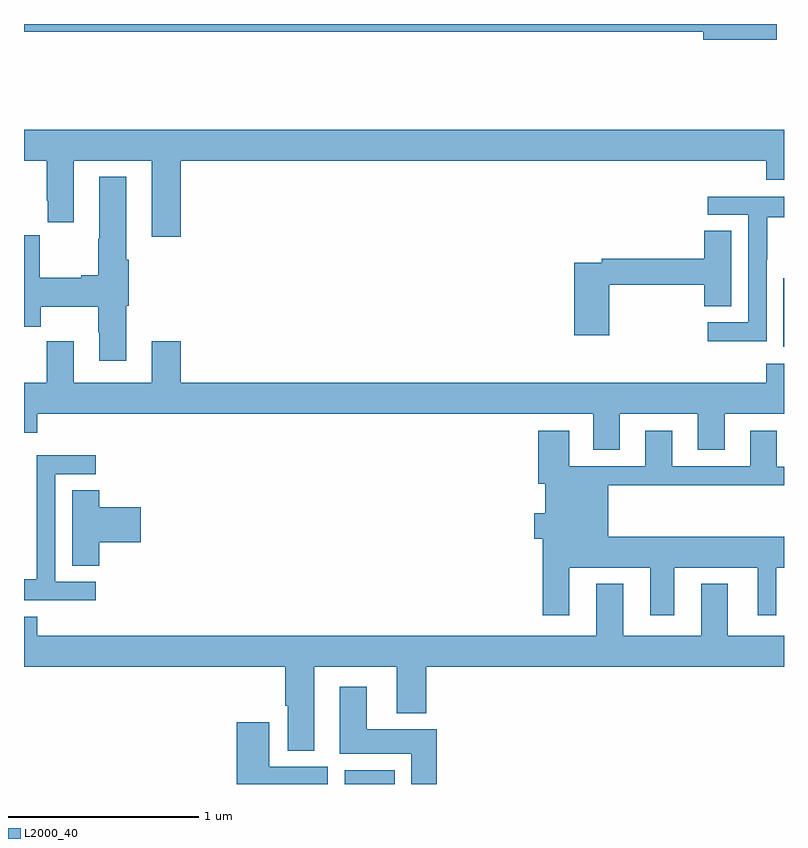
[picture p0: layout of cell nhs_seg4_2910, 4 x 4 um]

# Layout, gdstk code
import gdstk
lib = gdstk.Library(unit=1e-6, precision=1e-09)
def R(c, l, rs):  # rectangles x0, y0, x1, y1
    for r in rs: c.add(gdstk.rectangle(r[:2], r[2:], *l))
def P(c, l, *ps):  # polygons
    for p in ps: c.add(gdstk.Polygon(p, *l))
L2000_40 = (2000, 40)

nhs_seg4_2910 = lib.new_cell('nhs_seg4_2910')
R(nhs_seg4_2910, L2000_40, [(266.687,766.9,266.95,766.972), (268.997,769.202,269,769.563)])
P(nhs_seg4_2910, L2000_40, [(268.963,770.9),(265,770.9),(265,770.86),(268.574,770.86),(268.574,770.818),(268.963,770.818)],
  [(265.826,770.18),(268.907,770.18),(268.907,770.081),(269,770.081),(269,770.344),(265,770.344),(265,770.18),(265.121,770.18),(265.121,769.969),(265.124,769.969),(265.124,769.857),(265.261,769.857),(265.261,770.18),(265.673,770.18),(265.673,769.779),(265.826,769.779)],
  [(265.537,769.416),(265.55,769.416),(265.55,769.66),(265.537,769.66),(265.537,770.095),(265.397,770.095),(265.397,769.769),(265.39,769.769),(265.39,769.577),(265.301,769.577),(265.301,769.564),(265.083,769.564),(265.083,769.787),(265,769.787),(265,769.306),(265.087,769.306),(265.087,769.412),(265.39,769.412),(265.39,769.278),(265.397,769.278),(265.397,769.128),(265.537,769.128)],
  [(268.908,769.66),(268.911,769.66),(268.911,769.884),(269,769.884),(269,769.992),(268.599,769.992),(268.599,769.896),(268.812,769.896),(268.812,769.329),(268.599,769.329),(268.599,769.231),(268.908,769.231)],
  [(268.079,769.528),(268.58,769.528),(268.58,769.414),(268.723,769.414),(268.723,769.811),(268.58,769.811),(268.58,769.664),(268.042,769.664),(268.042,769.644),(267.896,769.644),(267.896,769.263),(268.079,769.263)],
  [(268.135,768.848),(268.547,768.848),(268.547,768.658),(268.687,768.658),(268.687,768.848),(269,768.848),(269,769.111),(268.907,769.111),(268.907,769.012),(265.826,769.012),(265.826,769.231),(265.673,769.231),(265.673,769.012),(265.261,769.012),(265.261,769.231),(265.121,769.231),(265.121,769.012),(265,769.012),(265,768.749),(265.07,768.749),(265.07,768.848),(267.995,768.848),(267.995,768.658),(268.135,768.658)],
  [(267.871,768.038),(268.295,768.038),(268.295,767.787),(268.423,767.787),(268.423,768.038),(268.862,768.038),(268.862,767.787),(268.96,767.787),(268.96,768.038),(269,768.038),(269,768.202),(268.075,768.202),(268.075,768.472),(269,768.472),(269,768.57),(268.963,768.57),(268.963,768.76),(268.823,768.76),(268.823,768.573),(268.411,768.573),(268.411,768.76),(268.271,768.76),(268.271,768.573),(267.871,768.573),(267.871,768.76),(267.707,768.76),(267.707,768.48),(267.743,768.48),(267.743,768.325),(267.686,768.325),(267.686,768.191),(267.731,768.191),(267.731,767.787),(267.871,767.787)],
  [(265.378,767.964),(265.164,767.964),(265.164,768.531),(265.378,768.531),(265.378,768.63),(265.068,768.63),(265.068,768.2),(265.066,768.2),(265.066,767.977),(265,767.977),(265,767.868),(265.378,767.868)],
  [(265.397,768.173),(265.615,768.173),(265.615,768.356),(265.397,768.356),(265.397,768.446),(265.253,768.446),(265.253,768.049),(265.397,768.049)],
  [(266.527,767.516),(266.963,767.516),(266.963,767.273),(267.116,767.273),(267.116,767.516),(269,767.516),(269,767.68),(268.705,767.68),(268.705,767.953),(268.565,767.953),(268.565,767.68),(268.153,767.68),(268.153,767.953),(268.013,767.953),(268.013,767.68),(265.07,767.68),(265.07,767.779),(265,767.779),(265,767.516),(266.375,767.516),(266.375,767.311),(266.387,767.311),(266.387,767.075),(266.527,767.075)],
  [(267.173,767.188),(266.803,767.188),(266.803,767.413),(266.663,767.413),(266.663,767.06),(267.038,767.06),(267.038,766.9),(267.173,766.9)],
  [(266.599,766.99),(266.29,766.99),(266.29,767.224),(266.12,767.224),(266.12,766.9),(266.599,766.9)])

lib.write_gds('nhs_seg4_2910.gds')
